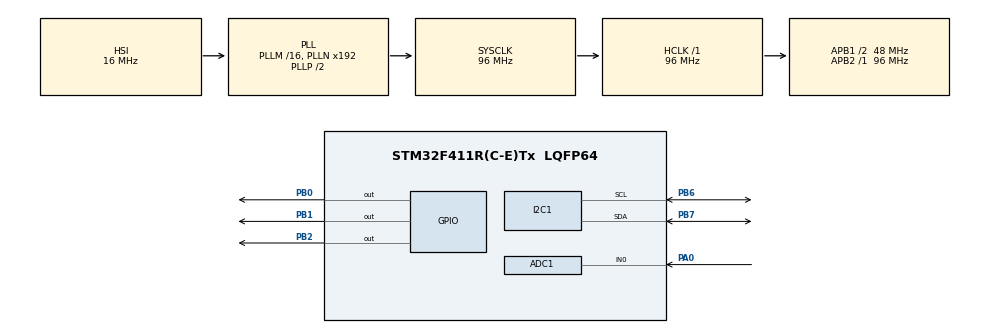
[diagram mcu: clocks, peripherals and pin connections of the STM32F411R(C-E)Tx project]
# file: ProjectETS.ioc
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ADC1.Channel-0\#ChannelRegularConversion=ADC_CHANNEL_0
ADC1.NbrOfConversionFlag=1
ADC1.Rank-0\#ChannelRegularConversion=1
ADC1.SamplingTime-0\#ChannelRegularConversion=ADC_SAMPLETIME_3CYCLES
ADC1.master=1
Mcu.Family=STM32F4
Mcu.Name=STM32F411R(C-E)Tx
Mcu.Package=LQFP64
NVIC.PriorityGroup=NVIC_PRIORITYGROUP_0
PA0-WKUP.Signal=ADCx_IN0
PA13.Mode=Serial_Wire
PA13.Signal=SYS_JTMS-SWDIO
PA14.Mode=Serial_Wire
PA14.Signal=SYS_JTCK-SWCLK
PB0.Signal=GPIO_Output
PB1.Signal=GPIO_Output
PB2.Signal=GPIO_Output
PB6.Mode=I2C
PB6.Signal=I2C1_SCL
PB7.Mode=I2C
PB7.Signal=I2C1_SDA
ProjectManager.HeapSize=0x200
ProjectManager.StackSize=0x400
ProjectManager.TargetToolchain=MDK-ARM V5.32
RCC.48MHZClocksFreq_Value=48000000
RCC.AHBFreq_Value=96000000
RCC.APB1CLKDivider=RCC_HCLK_DIV2
RCC.APB1Freq_Value=48000000
RCC.APB1TimFreq_Value=96000000
RCC.APB2Freq_Value=96000000
RCC.APB2TimFreq_Value=96000000
RCC.CortexFreq_Value=96000000
RCC.FLatency-AdvancedSettings=FLASH_LATENCY_3
RCC.HCLKFreq_Value=96000000
RCC.HSE_VALUE=8000000
RCC.HSI_VALUE=16000000
RCC.LSE_VALUE=32768
RCC.SYSCLKFreq_VALUE=96000000
RCC.SYSCLKSource=RCC_SYSCLKSOURCE_PLLCLK
RCC.VCOOutputFreq_Value=192000000
SH.ADCx_IN0.0=ADC1_IN0,IN0
board=NUCLEO-F411RE

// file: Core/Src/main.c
/* USER CODE BEGIN Header */
/**
  ******************************************************************************
  * @file           : main.c
  * @brief          : Main program body
  ******************************************************************************
  * @attention
  *
  * Copyright (c) 2025 STMicroelectronics.
  * All rights reserved.
  *
  * This software is licensed under terms that can be found in the LICENSE file
  * in the root directory of this software component.
  * If no LICENSE file comes with this software, it is provided AS-IS.
  *
  ******************************************************************************
  */
/* USER CODE END Header */
#include "main.h"
#include "sensor.h"
#include "valve.h"
#include "pump.h"
#include "relay.h"
#include "lcd_i2c.h"

/* USER CODE BEGIN PD */
#define SOIL_THRESHOLD 2000U /* Threshold ADC Value */
#define DELAY_CORRECTION_MS 3000U /* 3 Seconds for water absorption */
/* USER CODE END PD */

ADC_HandleTypeDef hadc1;

I2C_HandleTypeDef hi2c1;

void SystemClock_Config(void);
static void MX_GPIO_Init(void);
static void MX_ADC1_Init(void);
static void MX_I2C1_Init(void);

/* USER CODE BEGIN 0 */
void Water_Control_Process(void);
/* USER CODE END 0 */

int main(void)
{

  /* MCU Configuration--------------------------------------------------------*/

  /* Reset of all peripherals, Initializes the Flash interface and the Systick. */
  HAL_Init();

  /* Configure the system clock */
  SystemClock_Config();

  /* Initialize all configured peripherals */
  MX_GPIO_Init();
  MX_ADC1_Init();
  MX_I2C1_Init();
  /* USER CODE BEGIN 2 */
	LCD_I2C_Init();
  LCD_I2C_Clear();
  LCD_I2C_SetCursor(0,0);
  LCD_I2C_Print("System Ready");
  HAL_Delay(1000);
  /* USER CODE END 2 */

  /* Infinite loop */
  while (1)
  {
    Water_Control_Process();
    HAL_Delay(500);
  }
}

void SystemClock_Config(void)
{
  RCC_OscInitTypeDef RCC_OscInitStruct = {0};
  RCC_ClkInitTypeDef RCC_ClkInitStruct = {0};

  /** Configure the main internal regulator output voltage
  */
  __HAL_RCC_PWR_CLK_ENABLE();
  __HAL_PWR_VOLTAGESCALING_CONFIG(PWR_REGULATOR_VOLTAGE_SCALE1);

  /** Initializes the RCC Oscillators according to the specified parameters
  * in the RCC_OscInitTypeDef structure.
  */
  RCC_OscInitStruct.OscillatorType = RCC_OSCILLATORTYPE_HSI;
  RCC_OscInitStruct.HSIState = RCC_HSI_ON;
  RCC_OscInitStruct.HSICalibrationValue = RCC_HSICALIBRATION_DEFAULT;
  RCC_OscInitStruct.PLL.PLLState = RCC_PLL_ON;
  RCC_OscInitStruct.PLL.PLLSource = RCC_PLLSOURCE_HSI;
  RCC_OscInitStruct.PLL.PLLM = 16;
  RCC_OscInitStruct.PLL.PLLN = 192;
  RCC_OscInitStruct.PLL.PLLP = RCC_PLLP_DIV2;
  RCC_OscInitStruct.PLL.PLLQ = 4;
  if (HAL_RCC_OscConfig(&RCC_OscInitStruct) != HAL_OK)
  {
    Error_Handler();
  }

  /** Initializes the CPU, AHB and APB buses clocks
  */
  RCC_ClkInitStruct.ClockType = RCC_CLOCKTYPE_HCLK|RCC_CLOCKTYPE_SYSCLK
                              |RCC_CLOCKTYPE_PCLK1|RCC_CLOCKTYPE_PCLK2;
  RCC_ClkInitStruct.SYSCLKSource = RCC_SYSCLKSOURCE_PLLCLK;
  RCC_ClkInitStruct.AHBCLKDivider = RCC_SYSCLK_DIV1;
  RCC_ClkInitStruct.APB1CLKDivider = RCC_HCLK_DIV2;
  RCC_ClkInitStruct.APB2CLKDivider = RCC_HCLK_DIV1;

  if (HAL_RCC_ClockConfig(&RCC_ClkInitStruct, FLASH_LATENCY_3) != HAL_OK)
  {
    Error_Handler();
  }
}

static void MX_ADC1_Init(void)
{

  ADC_ChannelConfTypeDef sConfig = {0};

  /** Configure the global features of the ADC (Clock, Resolution, Data Alignment and number of conversion)
  */
  hadc1.Instance = ADC1;
  hadc1.Init.ClockPrescaler = ADC_CLOCK_SYNC_PCLK_DIV4;
  hadc1.Init.Resolution = ADC_RESOLUTION_12B;
  hadc1.Init.ScanConvMode = DISABLE;
  hadc1.Init.ContinuousConvMode = DISABLE;
  hadc1.Init.DiscontinuousConvMode = DISABLE;
  hadc1.Init.ExternalTrigConvEdge = ADC_EXTERNALTRIGCONVEDGE_NONE;
  hadc1.Init.ExternalTrigConv = ADC_SOFTWARE_START;
  hadc1.Init.DataAlign = ADC_DATAALIGN_RIGHT;
  hadc1.Init.NbrOfConversion = 1;
  hadc1.Init.DMAContinuousRequests = DISABLE;
  hadc1.Init.EOCSelection = ADC_EOC_SINGLE_CONV;
  if (HAL_ADC_Init(&hadc1) != HAL_OK)
  {
    Error_Handler();
  }

  /** Configure for the selected ADC regular channel its corresponding rank in the sequencer and its sample time.
  */
  sConfig.Channel = ADC_CHANNEL_0;
  sConfig.Rank = 1;
  sConfig.SamplingTime = ADC_SAMPLETIME_3CYCLES;
  if (HAL_ADC_ConfigChannel(&hadc1, &sConfig) != HAL_OK)
  {
    Error_Handler();
  }

}

static void MX_I2C1_Init(void)
{

  hi2c1.Instance = I2C1;
  hi2c1.Init.ClockSpeed = 100000;
  hi2c1.Init.DutyCycle = I2C_DUTYCYCLE_2;
  hi2c1.Init.OwnAddress1 = 0;
  hi2c1.Init.AddressingMode = I2C_ADDRESSINGMODE_7BIT;
  hi2c1.Init.DualAddressMode = I2C_DUALADDRESS_DISABLE;
  hi2c1.Init.OwnAddress2 = 0;
  hi2c1.Init.GeneralCallMode = I2C_GENERALCALL_DISABLE;
  hi2c1.Init.NoStretchMode = I2C_NOSTRETCH_DISABLE;
  if (HAL_I2C_Init(&hi2c1) != HAL_OK)
  {
    Error_Handler();
  }

}

static void MX_GPIO_Init(void)
{
  GPIO_InitTypeDef GPIO_InitStruct = {0};

  /* GPIO Ports Clock Enable */
  __HAL_RCC_GPIOA_CLK_ENABLE();
  __HAL_RCC_GPIOB_CLK_ENABLE();

  /*Configure GPIO pin Output Level */
  HAL_GPIO_WritePin(GPIOB, GPIO_PIN_0|GPIO_PIN_1|GPIO_PIN_2, GPIO_PIN_RESET);

  /*Configure GPIO pins : PB0 PB1 PB2 */
  GPIO_InitStruct.Pin = GPIO_PIN_0|GPIO_PIN_1|GPIO_PIN_2;
  GPIO_InitStruct.Mode = GPIO_MODE_OUTPUT_PP;
  GPIO_InitStruct.Pull = GPIO_NOPULL;
  GPIO_InitStruct.Speed = GPIO_SPEED_FREQ_LOW;
  HAL_GPIO_Init(GPIOB, &GPIO_InitStruct);

}

/* USER CODE BEGIN 4 */
void Water_Control_Process(void)
{
    uint32_t soil_value = Sensor_Read();

		LCD_I2C_SetCursor(0, 0);
		LCD_I2C_Print("Soil: ");
		LCD_I2C_PrintNumber(soil_value);

    if (soil_value < SOIL_THRESHOLD)
    {
        Pump_Start();
        LCD_I2C_SetCursor(1, 0);
        LCD_I2C_Print("Pump ON...");

        HAL_Delay(DELAY_CORRECTION_MS);

        soil_value = Sensor_Read();

        if (soil_value > (SOIL_THRESHOLD + 300U)) // Koreksi overflow
        {
            Valve_Close();
            LCD_I2C_SetCursor(1, 0);
            LCD_I2C_Print("Valve CLOSED!");
        }

        Pump_Stop();
    }
    else
    {
        Pump_Start();
        Valve_Open();
        LCD_I2C_SetCursor(1, 0);
        LCD_I2C_Print("Soil OK        ");
    }
}
/* USER CODE END 4 */

void Error_Handler(void)
{
  __disable_irq();
  while (1)
  {
  }
}
